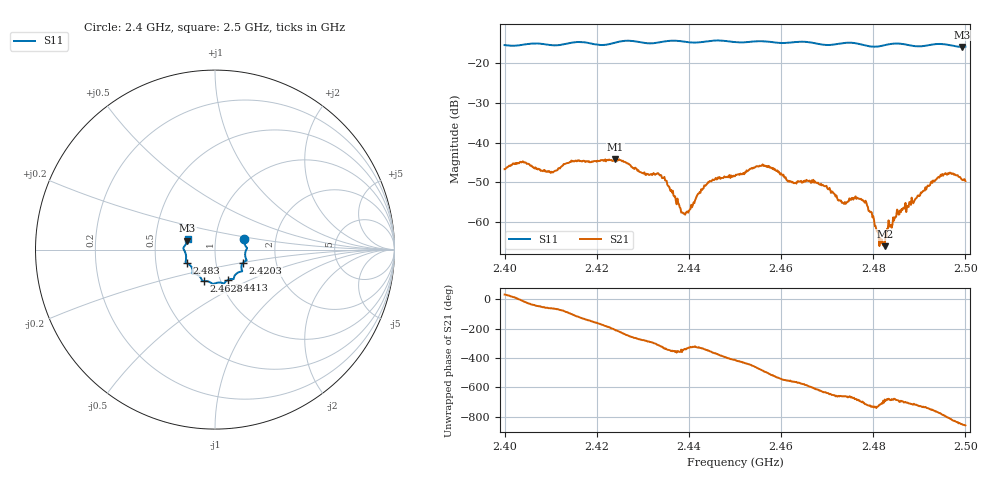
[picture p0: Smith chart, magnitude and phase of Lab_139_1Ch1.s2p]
# Hz S RI R 50
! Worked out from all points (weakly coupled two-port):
!   601 points, 2.4 GHz to 2.5 GHz, reference 50 ohm
!   highest |S21| = -44.23 dB at 2.424 GHz (marker M1); lowest = -66.2 dB at 2.4825 GHz (marker M2)
!   lowest |S11| = -15.8 dB at 2.4993 GHz (marker M3), VSWR 1.39, Z = 36.5 + j3.72 ohm
!   |S11| at or under -10 dB: start of sweep to end of sweep
!   S12 and S22 are empty: the file has one direction only
!   S11 on the Smith chart (normalised r, x): 2.4 GHz: 1.37, +0.16; 2.4203 GHz: 1.35, -0.21; 2.4413 GHz: 1.09, -0.38; 2.4628 GHz: 0.83, -0.30; 2.483 GHz: 0.72, -0.11; 2.5 GHz: 0.73, +0.09
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2.4e9  0.1607 0.057  0.00388 0.00248  0 0  0 0
2.410333e9  0.1694 -0.0135  0.00192 -0.00374  0 0  0 0
2.416667e9  0.1761 -0.0615  -0.00353 -0.00462  0 0  0 0
2.420333e9  0.1553 -0.0739  -0.00562 -0.00153  0 0  0 0
2.424e9  0.1481 -0.1081  -0.00541 0.00291  0 0  0 0
2.433333e9  0.1079 -0.1485  0.00274 0.00304  0 0  0 0
2.438833e9  0.095 -0.1634  0.00122 0.000341  0 0  0 0
2.441333e9  0.0742 -0.1679  0.00144 0.00118  0 0  0 0
2.444667e9  0.0536 -0.1851  0.00324 0.000198  0 0  0 0
2.45e9  0.0292 -0.1838  0.00221 -0.00303  0 0  0 0
2.456167e9  -0.0127 -0.1901  -0.0032 -0.00392  0 0  0 0
2.462833e9  -0.0631 -0.1747  -0.00284 0.00114  0 0  0 0
2.466667e9  -0.0742 -0.1676  -0.00167 0.00288  0 0  0 0
2.4735e9  -0.1211 -0.1344  0.000877 0.00148  0 0  0 0
2.478e9  -0.1243 -0.1164  0.00175 0.000448  0 0  0 0
2.481667e9  -0.144 -0.0827  0.00053 5.29e-05  0 0  0 0
2.4825e9  -0.151 -0.0787  0.000396 0.000288  0 0  0 0
2.483e9  -0.1549 -0.0767  0.000632 0.000514  0 0  0 0
2.483333e9  -0.1571 -0.0758  0.000779 0.000687  0 0  0 0
2.4945e9  -0.1762 0.00863  0.00207 -0.00315  0 0  0 0
2.499333e9  -0.1541 0.0496  -0.00235 -0.00241  0 0  0 0
2.5e9  -0.1524 0.0587  -0.00252 -0.00206  0 0  0 0
